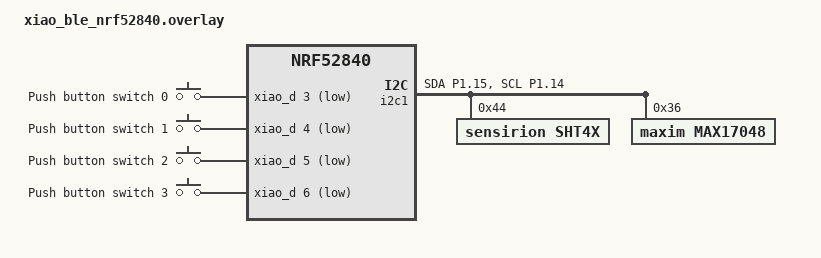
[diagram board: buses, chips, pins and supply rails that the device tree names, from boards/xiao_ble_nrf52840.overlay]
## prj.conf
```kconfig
#
# Copyright (c) 2025 Nordic Semiconductor ASA
#
# SPDX-License-Identifier: LicenseRef-Nordic-5-Clause
#

# Enable CHIP
CONFIG_CHIP=y
CONFIG_CHIP_PROJECT_CONFIG="src/chip_project_config.h"
CONFIG_CHIP_DEVICE_PRODUCT_NAME="Matter Temperature Sensor"

# Configure ZAP file name
CONFIG_NCS_SAMPLE_MATTER_ZAP_FILE_PATH="${APPLICATION_CONFIG_DIR}/src/default_zap/temperature_sensor.zap"

# Based on https://github.com/project-chip/connectedhomeip/blob/482e6fd03196a6de45465a90003947ef4b86e0b1/docs/examples/discussion/PID_allocation_for_example_apps.md)
CONFIG_CHIP_DEVICE_PRODUCT_ID=32781
CONFIG_STD_CPP17=y

# Enable Matter pairing automatically on application start.
CONFIG_CHIP_ENABLE_PAIRING_AUTOSTART=y

# Enable Matter extended announcement and increase duration to 1 hour.
CONFIG_CHIP_BLE_EXT_ADVERTISING=y
CONFIG_CHIP_BLE_ADVERTISING_DURATION=60

# Add support for LEDs and buttons on Nordic development kits
CONFIG_DK_LIBRARY=y

# Bluetooth Low Energy configuration
CONFIG_BT_DEVICE_NAME="MatterTemperature"
CONFIG_BT_DEVICE_NAME_MAX=18

# Suspend devices when the CPU goes into sleep
CONFIG_PM_DEVICE=y

# Other settings
CONFIG_THREAD_NAME=y
CONFIG_MPU_STACK_GUARD=y
CONFIG_RESET_ON_FATAL_ERROR=n
CONFIG_CHIP_LIB_SHELL=y

# Reduce application size
CONFIG_USE_SEGGER_RTT=n

# Enable Factory Data feature
CONFIG_CHIP_FACTORY_DATA=y
CONFIG_CHIP_FACTORY_DATA_BUILD=y

CONFIG_CHIP_NFC_ONBOARDING_PAYLOAD=n

# Enable I2C and Sensor APIs
CONFIG_I2C=y
CONFIG_SENSOR=y

# Driver for SHT4X
CONFIG_SHT4X=y

# Enable Fuel Gauge and MAX17048 Drivers (not implemented yet)
CONFIG_FUEL_GAUGE=y
CONFIG_MAX170478=y
```

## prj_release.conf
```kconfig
#
# Copyright (c) 2025 Nordic Semiconductor ASA
#
# SPDX-License-Identifier: LicenseRef-Nordic-5-Clause
#

# Enable CHIP
CONFIG_CHIP=y
CONFIG_CHIP_PROJECT_CONFIG="src/chip_project_config.h"
CONFIG_CHIP_DEVICE_PRODUCT_NAME="Matter Temperature Sensor"

# Configure ZAP file name
CONFIG_NCS_SAMPLE_MATTER_ZAP_FILE_PATH="${APPLICATION_CONFIG_DIR}/src/default_zap/temperature_sensor.zap"

# Based on https://github.com/project-chip/connectedhomeip/blob/482e6fd03196a6de45465a90003947ef4b86e0b1/docs/examples/discussion/PID_allocation_for_example_apps.md)
CONFIG_CHIP_DEVICE_PRODUCT_ID=32781
CONFIG_STD_CPP17=y

# Enable Matter pairing automatically on application start.
CONFIG_CHIP_ENABLE_PAIRING_AUTOSTART=y

# Enable Matter extended announcement and increase duration to 1 hour.
CONFIG_CHIP_BLE_EXT_ADVERTISING=y
CONFIG_CHIP_BLE_ADVERTISING_DURATION=60

# Add support for LEDs and buttons on Nordic development kits
CONFIG_DK_LIBRARY=y

# Try to disable unused RAM blocks to reduce power consumption
CONFIG_RAM_POWER_DOWN_LIBRARY=y

# Bluetooth Low Energy configuration
CONFIG_BT_DEVICE_NAME="MatterTemperature"
CONFIG_BT_DEVICE_NAME_MAX=18

# Suspend devices when the CPU goes into sleep
CONFIG_PM_DEVICE=y

# Enable system reset on fatal error
CONFIG_RESET_ON_FATAL_ERROR=y

# Disable all debug features
CONFIG_USE_SEGGER_RTT=n
CONFIG_SHELL=n
CONFIG_OPENTHREAD_SHELL=n
CONFIG_CONSOLE=n
CONFIG_UART_CONSOLE=n
CONFIG_SERIAL=n
CONFIG_LOG=n
CONFIG_LOG_MODE_MINIMAL=n
CONFIG_ASSERT_VERBOSE=n
CONFIG_ASSERT_NO_FILE_INFO=y
CONFIG_PRINTK=n
CONFIG_PRINTK_SYNC=n
CONFIG_THREAD_NAME=n
CONFIG_BOOT_BANNER=n

# Enable Factory Data feature
CONFIG_CHIP_FACTORY_DATA=y
CONFIG_CHIP_FACTORY_DATA_BUILD=y

# Enable Watchdog
CONFIG_NCS_SAMPLE_MATTER_WATCHDOG=y

# Enable LTO to decrease the flash usage.
CONFIG_LTO=y
CONFIG_ISR_TABLES_LOCAL_DECLARATION=y
# 115200
# Switch off LEDs
CONFIG_NCS_SAMPLE_MATTER_LEDS=n

#Configure Power Management
CONFIG_PM_DEVICE=y
CONFIG_RAM_POWER_DOWN_LIBRARY=y
CONFIG_POWEROFF=y

# Settings for ICD with LIT
CONFIG_OPENTHREAD_MTD=y
CONFIG_OPENTHREAD_NORDIC_LIBRARY_MTD=y
CONFIG_CHIP_ENABLE_ICD_SUPPORT=y
CONFIG_CHIP_ICD_LIT_SUPPORT=y

CONFIG_CHIP_ICD_IDLE_MODE_DURATION=900
CONFIG_CHIP_ICD_SLOW_POLL_INTERVAL=300000
CONFIG_CHIP_ICD_ACTIVE_MODE_DURATION=500
CONFIG_CHIP_ICD_ACTIVE_MODE_THRESHOLD=10000
CONFIG_CHIP_ICD_FAST_POLLING_INTERVAL=1000

CONFIG_CHIP_NFC_ONBOARDING_PAYLOAD=n
```

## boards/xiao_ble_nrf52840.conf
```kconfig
CONFIG_BOOTLOADER_MCUBOOT=n
CONFIG_DFU_TARGET_MCUBOOT=n
CONFIG_CHIP_BOOTLOADER_NONE=y

CONFIG_CHIP_OTA_REQUESTOR=n

CONFIG_CHIP_FACTORY_DATA=n
CONFIG_CHIP_FACTORY_DATA_BUILD=n


CONFIG_CHIP_BOOTLOADER_MCUBOOT=n
```

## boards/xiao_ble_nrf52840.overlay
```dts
/ {

	buttons {

		compatible = "gpio-keys";

		button0: button_0 {
			gpios = <&xiao_d 3 (GPIO_PULL_UP | GPIO_ACTIVE_LOW)>;
			label = "Push button switch 0";
			zephyr,code = <INPUT_KEY_0>;

		};

		button1: button_1 {
			gpios = <&xiao_d 4 (GPIO_PULL_UP | GPIO_ACTIVE_LOW)>;
			label = "Push button switch 1";
			zephyr,code = <INPUT_KEY_1>;
		};

		button2: button_2 {
			gpios = <&xiao_d 5 (GPIO_PULL_UP | GPIO_ACTIVE_LOW)>;
			label = "Push button switch 2";
			zephyr,code = <INPUT_KEY_2>;
		};

		button3: button_3 {
			gpios = <&xiao_d 6 (GPIO_PULL_UP | GPIO_ACTIVE_LOW)>;
			label = "Push button switch 3";
			zephyr,code = <INPUT_KEY_3>;
		};

	};
};

&spi2 {
	status = "disabled";
};

/* Change the pin mappings on the xiao */
&pinctrl {
	i2c1_default: i2c1_default {
		group1 {
			psels = <NRF_PSEL(TWIM_SDA, 1, 15)>,
				<NRF_PSEL(TWIM_SCL, 1, 14)>;
		};
	};

	i2c1_sleep: i2c1_sleep {
		group1 {
			psels = <NRF_PSEL(TWIM_SDA, 1, 15)>,
				<NRF_PSEL(TWIM_SCL, 1, 14)>;
			low-power-enable;
		};
	};
};

&i2c1 {
	status = "okay";
	compatible = "nordic,nrf-twim";

    pinctrl-0 = <&i2c1_default>;
    pinctrl-1 = <&i2c1_sleep>;
    pinctrl-names = "default", "sleep";

	sht4x@44 {
		compatible = "sensirion,sht4x";
		repeatability = <2>;
		reg = <0x44>;
	};

	max17048@36 {
		compatible = "maxim,max17048";
		reg = <0x36>;
		status = "okay";
	};
};
```

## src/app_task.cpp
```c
/*
 * Copyright (c) 2021 Nordic Semiconductor ASA
 *
 * SPDX-License-Identifier: LicenseRef-Nordic-5-Clause
 */

#include "app_task.h"

#include "app/matter_init.h"
#include "app/task_executor.h"
#include "board/board.h"
#include "lib/core/CHIPError.h"
#include "lib/support/CodeUtils.h"

#include <setup_payload/OnboardingCodesUtil.h>

#include <zephyr/logging/log.h>
#include <zephyr/drivers/sensor.h>

#ifdef CONFIG_FUEL_GAUGE
#include <zephyr/drivers/fuel_gauge.h>
#endif


#include <app-common/zap-generated/attributes/Accessors.h>

#include <cmath>

LOG_MODULE_DECLARE(app, CONFIG_CHIP_APP_LOG_LEVEL);

using namespace ::chip;
using namespace ::chip::app;
using namespace ::chip::DeviceLayer;

namespace {
	// Set the measurement interval.
	constexpr size_t kMeasurementsIntervalMs = 30000; // 30 seconds

	// Delay before the first reading on boot, to give the I2C sensor time to power up and settle.
	constexpr size_t kStartupDelayMs = 3000;

	// Endpoint and attribute constants for Temperature Measurement
	constexpr uint8_t kTemperatureMeasurementEndpointId = 1;
	constexpr int16_t kTemperatureMeasurementAttributeMaxValue = 0x7fff;
	constexpr int16_t kTemperatureMeasurementAttributeMinValue = 0x954d;
	constexpr int16_t kTemperatureMeasurementAttributeInvalidValue = 0x8000;

	// Endpoint and attribute constants for Relative Humidity Measurement
	constexpr uint8_t kHumidityMeasurementEndpointId = 2;
	constexpr uint16_t kHumidityMeasurementAttributeMaxValue = 10000; // 100.00%
	constexpr uint16_t kHumidityMeasurementAttributeMinValue = 0; // 0.00%
	constexpr uint16_t kHumidityMeasurementAttributeInvalidValue = 0xffff; // Invalid value

	k_timer sMeasurementsTimer;
	bool sIsMeasurementTimerStarted = false;

	const device *sht4x_dev = DEVICE_DT_GET_ONE(sensirion_sht4x);

#ifdef CONFIG_FUEL_GAUGE
	constexpr uint8_t kPowerSourceEndpointId = 0;
	const device *max17048_dev = DEVICE_DT_GET_ONE(maxim_max17048);
#endif


} //namespace

void AppTask::MatterEventHandler(const ChipDeviceEvent *event, intptr_t arg)
{
	// On initial commissioning, start the timer.
	// We use a flag to ensure this only happens once per boot.
	if (event->Type == DeviceEventType::kCommissioningComplete && !sIsMeasurementTimerStarted) {
		LOG_INF("Commissioning complete, starting measurements.");

		// Take an immediate reading by calling UpdateClustersState directly.
		// This is posted to the event queue to ensure it runs in the correct context.
		Nrf::PostTask([] { Instance().UpdateClustersState(); });

		// Start the periodic timer. K_NO_WAIT is NOT used here because we just
		// triggered the first reading manually. The timer will fire after the first interval.
		k_timer_start(&sMeasurementsTimer, K_MSEC(kMeasurementsIntervalMs), K_MSEC(kMeasurementsIntervalMs));
		sIsMeasurementTimerStarted = true;
	}
}

void AppTask::UpdateTemperatureClusterState()
{
	struct sensor_value sTemperature;
	Protocols::InteractionModel::Status status;
	int result = sensor_channel_get(sht4x_dev, SENSOR_CHAN_AMBIENT_TEMP, &sTemperature);

	if (result == 0) {
		// The MeasuredValue attribute is in 1/100ths of a degree Celsius.
		// Round the fractional (val2, in millionths) part to the nearest 1/100th degree.
		int32_t hundredths_frac = (sTemperature.val2 >= 0) ? (sTemperature.val2 + 5000) / 10000
								  : (sTemperature.val2 - 5000) / 10000;
		int16_t newValue = static_cast<int16_t>(sTemperature.val1 * 100 + hundredths_frac);

		if (newValue > kTemperatureMeasurementAttributeMaxValue || newValue < kTemperatureMeasurementAttributeMinValue) {
			newValue = kTemperatureMeasurementAttributeInvalidValue;
		}
		LOG_DBG("New temperature measurement: %d.%06d *C, attribute value: %d", sTemperature.val1,
			sTemperature.val2, newValue);

		status = Clusters::TemperatureMeasurement::Attributes::MeasuredValue::Set(kTemperatureMeasurementEndpointId, newValue);
		if (status != Protocols::InteractionModel::Status::Success) {
			LOG_ERR("Updating temperature measurement failed: %x", to_underlying(status));
		}
	} else {
		LOG_ERR("Getting temperature measurement data from BME280 failed with: %d", result);
	}
}

void AppTask::UpdateHumidityClusterState()
{
	struct sensor_value sHumidity;
	Protocols::InteractionModel::Status status;
	int result = sensor_channel_get(sht4x_dev, SENSOR_CHAN_HUMIDITY, &sHumidity);

	if (result == 0) {
		// The RelativeHumidity MeasuredValue attribute is in 1/100ths of a percent.
		// Round the fractional (val2, in millionths) part to the nearest 1/100th percent.
		int32_t hundredths_frac = (sHumidity.val2 + 5000) / 10000;
		uint16_t newValue = static_cast<uint16_t>(sHumidity.val1 * 100 + hundredths_frac);

		LOG_DBG("New humidity measurement: %d.%06d %%RH, attribute value: %u", sHumidity.val1,
			sHumidity.val2, newValue);

		// Validate the reading is within the defined range for the attribute.
		if (newValue > kHumidityMeasurementAttributeMaxValue || newValue < kHumidityMeasurementAttributeMinValue) {
			newValue = kHumidityMeasurementAttributeInvalidValue;
			LOG_WRN("Humidity value out of range, setting to invalid.");
		}

		status = Clusters::RelativeHumidityMeasurement::Attributes::MeasuredValue::Set(kHumidityMeasurementEndpointId, newValue);
		if (status != Protocols::InteractionModel::Status::Success) {
			LOG_ERR("Updating humidity measurement failed: %x", to_underlying(status));
		}
	} else {
		LOG_ERR("Getting humidity measurement data from BME280 failed with: %d", result);
	}
}
#ifdef CONFIG_FUEL_GAUGE
void AppTask::UpdateBatteryClusterState()
{
	union fuel_gauge_prop_val val_pct;
	union fuel_gauge_prop_val val_volt;
	union fuel_gauge_prop_val val_runtime_full; // NEW: Changed variable name
	Protocols::InteractionModel::Status status;

	// 1. Get Battery Percentage
	int rc = fuel_gauge_get_prop(max17048_dev, FUEL_GAUGE_RELATIVE_STATE_OF_CHARGE, &val_pct);

	if (rc == 0) {
		// Driver gives 0-100 (val_pct.relative_state_of_charge)
		// Matter spec (BatPercentRemaining) is 0-200 (in 0.5% units)
		uint8_t matter_pct = static_cast<uint8_t>(val_pct.relative_state_of_charge * 2);

		LOG_DBG("New battery percentage: %d%%, attribute value: %d", val_pct.relative_state_of_charge, matter_pct);

		status = Clusters::PowerSource::Attributes::BatPercentRemaining::Set(kPowerSourceEndpointId, matter_pct);
		if (status != Protocols::InteractionModel::Status::Success) {
			LOG_ERR("Updating BatPercentRemaining failed: %x", to_underlying(status));
		}
	} else {
		LOG_ERR("Getting battery percentage failed with: %d", rc);
		// Set to "unknown" (0xFF) on failure
		status = Clusters::PowerSource::Attributes::BatPercentRemaining::Set(kPowerSourceEndpointId, 0xFF);
		if (status != Protocols::InteractionModel::Status::Success) {
			LOG_ERR("Setting BatPercentRemaining to 'unknown' failed: %x", to_underlying(status));
		}
	}

	// 2. Get Battery Voltage
	rc = fuel_gauge_get_prop(max17048_dev, FUEL_GAUGE_VOLTAGE, &val_volt);
	if (rc == 0) {
		// Driver gives uV. Matter attribute (BatVoltage) is in mV.
		uint32_t matter_volt_mv = val_volt.voltage / 1000;
		LOG_DBG("New battery voltage: %u uV, attribute value: %u mV", val_volt.voltage, matter_volt_mv);

		status = Clusters::PowerSource::Attributes::BatVoltage::Set(kPowerSourceEndpointId, matter_volt_mv);
		if (status != Protocols::InteractionModel::Status::Success) {
			LOG_ERR("Updating BatVoltage failed: %x", to_underlying(status));
		}
	} else {
		LOG_ERR("Getting battery voltage failed with: %d", rc);
		// Set to "unknown" (0xFFFFFFFF) on failure
		status = Clusters::PowerSource::Attributes::BatVoltage::Set(kPowerSourceEndpointId, 0xFFFFFFFF);
		if (status != Protocols::InteractionModel::Status::Success) {
			LOG_ERR("Setting BatVoltage to 'unknown' failed: %x", to_underlying(status));
		}
	}

	// 3. Get Charging State
	// The driver returns 'true' if charging
	rc = fuel_gauge_get_prop(max17048_dev, FUEL_GAUGE_RUNTIME_TO_FULL, &val_runtime_full);
	if (rc == 0) {
		Clusters::PowerSource::BatChargeStateEnum charge_state;

		if (val_runtime_full.runtime_to_full > 0) {
			// If time to full is > 0, we are charging
			charge_state = Clusters::PowerSource::BatChargeStateEnum::kIsCharging;
		} else {
			// Otherwise, we are not charging (or are full)
			charge_state = Clusters::PowerSource::BatChargeStateEnum::kIsNotCharging;
		}
		// NOTE: This driver doesn't seem to have a "battery full" state.
		// kNotCharging is the best fit for discharging or full.

		LOG_DBG("New battery runtime to full: %d, attribute value: %d", val_runtime_full.runtime_to_full, (uint8_t)charge_state);
		status = Clusters::PowerSource::Attributes::BatChargeState::Set(kPowerSourceEndpointId, charge_state);
		if (status != Protocols::InteractionModel::Status::Success) {
			LOG_ERR("Updating BatChargeState failed: %x", to_underlying(status));
		}

	} else {
		LOG_ERR("Getting battery runtime to full failed with: %d", rc);
		// Set to "unknown" (0x03) on failure
		status = Clusters::PowerSource::Attributes::BatChargeState::Set(kPowerSourceEndpointId,
										Clusters::PowerSource::BatChargeStateEnum::kUnknown);
		if (status != Protocols::InteractionModel::Status::Success) {
			LOG_ERR("Setting BatChargeState to 'unknown' failed: %x", to_underlying(status));
		}
	}
}
#endif

void AppTask::MeasurementsTimerHandler()
{
	Instance().UpdateClustersState();
}

void AppTask::UpdateClustersState()
{
	// Fetch a new sample from the sensor. This updates all channels.
	const int result_bme = sensor_sample_fetch(sht4x_dev);

	if (result_bme == 0) {
		// Update both clusters with the new data.
		UpdateTemperatureClusterState();
		UpdateHumidityClusterState();
	} else {
		LOG_ERR("Fetching data from SHT4X sensor failed with: %d", result_bme);
	}
#ifdef CONFIG_FUEL_GAUGE
	UpdateBatteryClusterState();
#endif
}

CHIP_ERROR AppTask::Init()
{
	/* Initialize Matter stack */
	ReturnErrorOnFailure(Nrf::Matter::PrepareServer());

	if (!Nrf::GetBoard().Init()) {
		LOG_ERR("User interface initialization failed.");
		return CHIP_ERROR_INCORRECT_STATE;
	}

	/* Register Matter event handler that controls the connectivity status LED based on the captured Matter network
	 * state. */
	ReturnErrorOnFailure(Nrf::Matter::RegisterEventHandler(Nrf::Board::DefaultMatterEventHandler, 0));

	ReturnErrorOnFailure(Nrf::Matter::RegisterEventHandler(MatterEventHandler, 0));

	if (!device_is_ready(sht4x_dev)) {
		LOG_ERR("SHT4X sensor device not ready");
		return chip::System::MapErrorZephyr(-ENODEV);
	}

	k_timer_init(&sMeasurementsTimer, [](k_timer *) { Nrf::PostTask([] { MeasurementsTimerHandler(); }); }, nullptr);

	ReturnErrorOnFailure(Nrf::Matter::StartServer());

	// On reboot, if the device is already commissioned, start the timer directly.
	if (chip::Server::GetInstance().GetFabricTable().FabricCount() > 0 && !sIsMeasurementTimerStarted) {
		LOG_INF("Device is already commissioned on boot, starting measurements.");
		k_timer_start(&sMeasurementsTimer, K_MSEC(kStartupDelayMs), K_MSEC(kMeasurementsIntervalMs));
		sIsMeasurementTimerStarted = true;
	}

	return CHIP_NO_ERROR;
}

CHIP_ERROR AppTask::StartApp()
{
	ReturnErrorOnFailure(Init());

	while (true) {
		Nrf::DispatchNextTask();
	}

	return CHIP_NO_ERROR;
}
```

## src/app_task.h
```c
/*
 * Copyright (c) 2021 Nordic Semiconductor ASA
 *
 * SPDX-License-Identifier: LicenseRef-Nordic-5-Clause
 */

#pragma once

#include <platform/CHIPDeviceLayer.h>

struct k_timer;

class AppTask {
public:
	static AppTask &Instance()
	{
		static AppTask sAppTask;
		return sAppTask;
	};

	CHIP_ERROR StartApp();

	void UpdateClustersState();

private:
	CHIP_ERROR Init();

	static void MatterEventHandler(const chip::DeviceLayer::ChipDeviceEvent *event, intptr_t arg);

	static void MeasurementsTimerHandler();

	void UpdateTemperatureClusterState();

	void UpdateHumidityClusterState();
#ifdef CONFIG_FUEL_GAUGE
	void UpdateBatteryClusterState();
#endif

};
```
